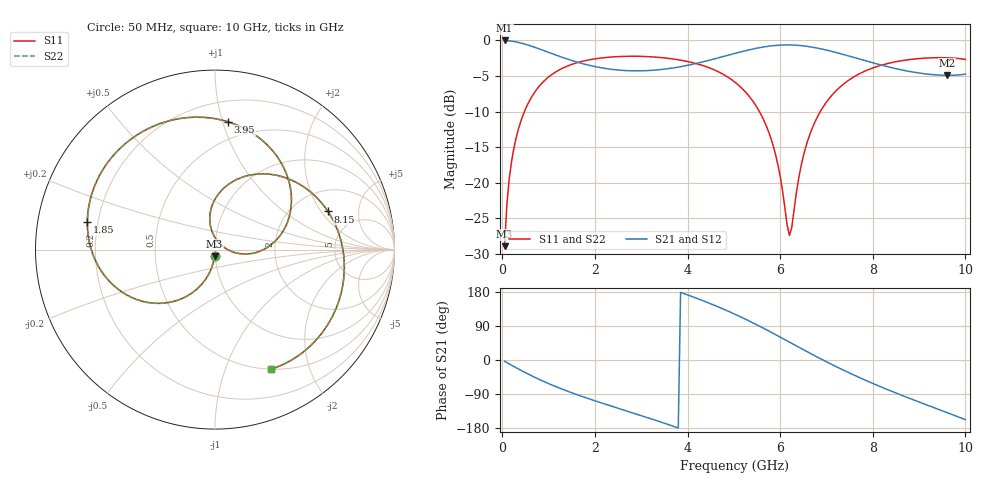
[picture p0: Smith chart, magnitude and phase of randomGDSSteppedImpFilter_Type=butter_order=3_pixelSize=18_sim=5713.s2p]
! freq	dB(S11)	phase(S11)	dB(S12)	phase(S12)
!  dB(S21)	phase(S21)	dB(S22)	phase(S22)
!S-par simulation data
#  GHz  S  DB  R 50
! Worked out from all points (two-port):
!   200 points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, 50 MHz to 10 GHz, reference 50 ohm
!   highest |S21| = -0.01 dB at 50 MHz (marker M1); lowest = -4.9 dB at 9.6 GHz (marker M2)
!   |S21| within 3 dB of the highest: start of sweep to 1.593 GHz; 4.336 GHz to 7.923 GHz (3.587 GHz wide, 58.5 % of centre)
!   lowest |S11| = -28.9 dB at 50 MHz (marker M3), VSWR 1.07, Z = 49.6 - j3.56 ohm
!   |S11| at or under -10 dB: start of sweep to 478.5 MHz; 5.552 GHz to 6.868 GHz (1.317 GHz wide, 21.2 % of centre)
!   |S22| runs from -28.9 to -2.2 dB; largest |S21 - S12| = 0
!   S11 on the Smith chart (normalised r, x): 50 MHz: 0.99, -0.07; 1.85 GHz: 0.16, +0.10; 3.95 GHz: 0.36, +1.04; 8.15 GHz: 3.06, +2.33; 10 GHz: 0.50, -1.45
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0.05  -28.92 -93.6  -0.01 -3.5  -0.01 -3.5  -28.92 -93.6
0.1  -22.93 -97.2  -0.03 -6.9  -0.03 -6.9  -22.93 -97.2
0.2  -17.03 -104.3  -0.11 -13.8  -0.11 -13.8  -17.03 -104.3
0.5  -9.66 -124.0  -0.55 -33.4  -0.55 -33.4  -9.66 -124.0
1  -5.14 -152.8  -1.68 -62.3  -1.68 -62.3  -5.14 -152.8
1.75  -2.91 172.1  -3.30 -97.3  -3.30 -97.3  -2.91 172.1
1.85  -2.77 168.0  -3.46 -101.5  -3.46 -101.5  -2.77 168.0
2.55  -2.27 140.2  -4.19 -129.3  -4.19 -129.3  -2.27 140.2
3.4  -2.40 107.1  -4.12 -162.7  -4.12 -162.7  -2.40 107.1
3.95  -2.90 84.3  -3.57 174.1  -3.57 174.1  -2.90 84.2
4.55  -4.07 56.9  -2.66 145.9  -2.66 145.9  -4.07 56.9
5.05  -6.01 31.7  -1.78 119.3  -1.78 119.3  -6.01 31.7
5.8  -13.76 -6.1  -0.78 73.6  -0.78 73.6  -13.76 -6.2
6.2  -27.41 43.7  -0.64 47.2  -0.64 47.2  -27.47 43.6
6.45  -17.71 100.8  -0.73 30.6  -0.73 30.6  -17.71 101.0
6.7  -12.23 93.9  -0.96 14.3  -0.96 14.3  -12.24 94.0
7.4  -5.97 57.1  -2.04 -28.7  -2.04 -28.7  -5.97 57.1
8.15  -3.55 18.7  -3.41 -69.6  -3.41 -69.6  -3.55 18.7
8.35  -3.21 9.1  -3.75 -79.7  -3.75 -79.7  -3.21 9.1
8.95  -2.58 -18.4  -4.54 -108.5  -4.54 -108.5  -2.59 -18.4
9.6  -2.45 -47.0  -4.91 -138.5  -4.91 -138.5  -2.45 -46.9
10  -2.67 -64.8  -4.75 -157.3  -4.75 -157.3  -2.67 -64.8
